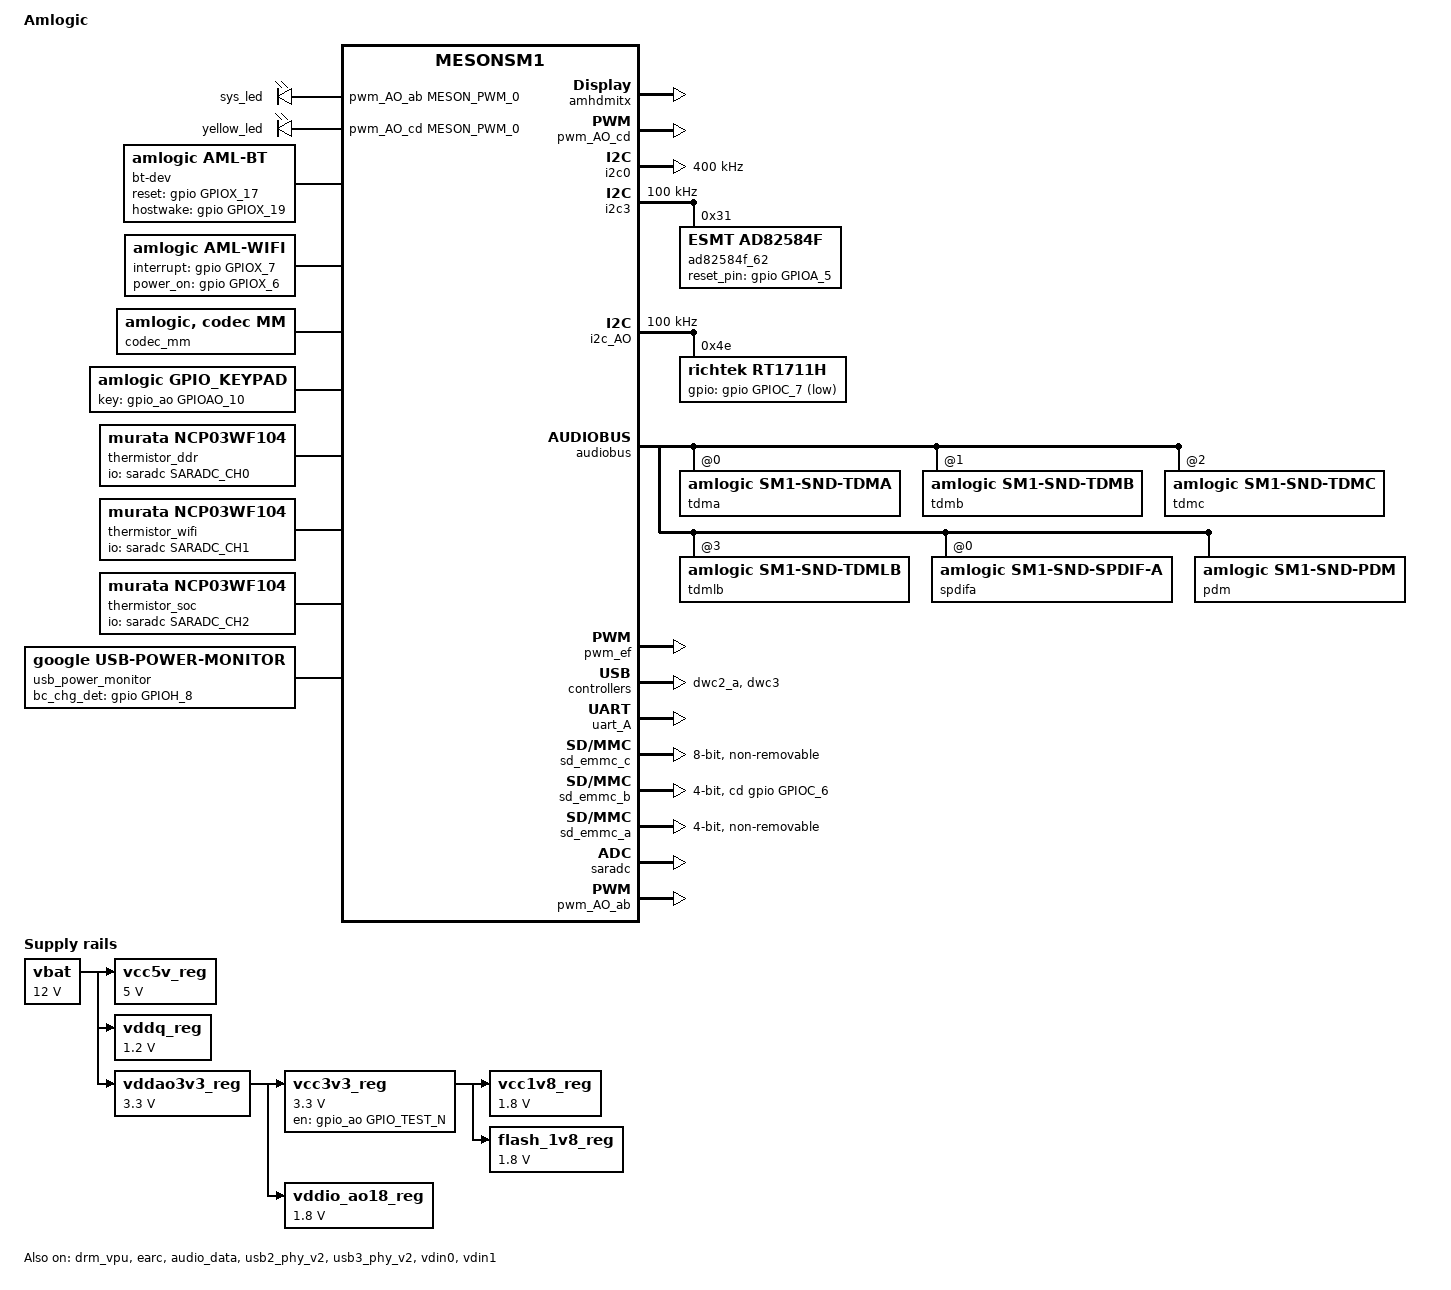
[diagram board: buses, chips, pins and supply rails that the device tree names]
// SPDX-License-Identifier: (GPL-2.0+ OR MIT)
/*
 * Copyright (c) 2019 Amlogic, Inc. All rights reserved.
 */

/dts-v1/;

#include <dt-bindings/usb/pd.h>
#include "mesonsm1_sabrina.dtsi"
#include "mesonsm1_drm.dtsi"
#include "partition_mbox_dynamic_sabrina.dtsi"

/ {
	model = "Amlogic";
	amlogic-dt-id = "sm1_sabrina_2g";
	compatible = "amlogic, g12a";
	interrupt-parent = <&gic>;
	#address-cells = <2>;
	#size-cells = <2>;

	aliases {
		serial0 = &uart_AO;
		serial1 = &uart_A;
		serial2 = &uart_B;
		serial3 = &uart_C;
		serial4 = &uart_AO_B;
		tsensor0 = &p_tsensor;
		tsensor1 = &d_tsensor;
		i2c0 = &i2c0;
		i2c1 = &i2c1;
		i2c2 = &i2c2;
		i2c3 = &i2c3;
		i2c4 = &i2c_AO;
		spi1 = &spicc0;
		spi2 = &spicc1;
	};

	memory@00000000 {
		device_type = "memory";
		linux,usable-memory = <0x0 0x000000 0x0 0x80000000>;
	};

	reserved-memory {
		#address-cells = <2>;
		#size-cells = <2>;
		ranges;
		/* global autoconfigured region for contiguous allocations */
		ramoops@0x07400000 {
			compatible = "ramoops";
			reg = <0x0 0x07400000 0x0 0x00100000>;
			record-size = <0x20000>;
			console-size = <0x40000>;
			ftrace-size = <0x80000>;
			pmsg-size = <0x20000>;
		};

		dmc_reserved:linux,dmc_monitor {
			compatible = "amlogic,dmc_monitor-reserved";
			reg = <0x0 0x0 0x0 0x80000>;
		};

		debug_reserved:linux,iotrace {
			compatible = "amlogic, iotrace";
			reg = <0x0 0x04f00000 0x0 0x00100000>;
			io-size = <0x1b000>;
			sched-size = <0x2000>;
			irq-size = <0x1000>;
			smc-size = <0x1000>;
			misc-size = <0x1000>;
		};

		defendkey_reserved:linux,defendkey {
			compatible = "amlogic, defendkey";
			reg = <0x0 0x04e00000 0x0 0x100000>;
		};
		secmon_reserved:linux,secmon {
			compatible = "shared-dma-pool";
			no-map;
			size = <0x0 0x400000>;
			alignment = <0x0 0x400000>;
			alloc-ranges = <0x0 0x05000000 0x0 0x400000>;
		};
		logo_reserved:linux,meson-fb {
			compatible = "shared-dma-pool";
			reusable;
			size = <0x0 0x800000>;
			alignment = <0x0 0x400000>;
			alloc-ranges = <0x0 0x7f800000 0x0 0x800000>;
		};
		ion_cma_reserved:linux,ion-dev {
			compatible = "shared-dma-pool";
			reusable;
			size = <0x0 0x3400000>;
			alignment = <0x0 0x400000>;
			no-kernel-map;
		};
		ion_fb_reserved:linux,ion-fb {
			compatible = "shared-dma-pool";
			reusable;
			size = <0x0 0x0>;
			alignment = <0x0 0x400000>;
		};
		bl40_fw_reserved:linux,bl40 {
			compatible = "amlogic, mfh";
			size = <0x0 0x0080000>;
			reg = <0x0 0x41000000  0x0 0x0080000>;
		};
		dmaheap_cma_reserved:heap-gfx {
			compatible = "shared-dma-pool";
			reusable;
			size = <0x0 0x3400000>;
			alignment = <0x0 0x400000>;
		};
		dmaheap_fb_reserved:heap-fb {
			compatible = "shared-dma-pool";
			reusable;
			size = <0x0 0x0>;
			alignment = <0x0 0x400000>;
		};
		//di_reserved:linux,di {
			//compatible = "amlogic, di-mem";
			/* buffer_size = 3621952(yuv422 8bit) */
			/* 4179008(yuv422 10bit full pack mode) */
			/** 10x3621952=34.6M(0x23) support 8bit **/
			/** 10x4736064=45.2M(0x2e) support 12bit **/
			/** 10x4179008=40M(0x28) support 10bit **/
			//size = <0x0 0x2800000>;
			//no-map;
		//};
		/*di CMA pool */
		di_cma_reserved:linux,di_cma {
			compatible = "shared-dma-pool";
			reusable;
			/* buffer_size = 3621952(yuv422 8bit)
			 *  | 4736064(yuv422 10bit)
			 *  | 4074560(yuv422 10bit full pack mode)
			 * 10x3621952=34.6M(0x23) support 8bit
			 * 10x4736064=45.2M(0x2e) support 12bit
			 * 10x4074560=40M(0x28) support 10bit
			 */
			size = <0x0 0x05800000>;
			alignment = <0x0 0x400000>;
		};
		/*  POST PROCESS MANAGER */
		ppmgr_reserved:linux,ppmgr {
			compatible = "shared-dma-pool";
			size = <0x0 0x0>;
		};

		codec_mm_cma:linux,codec_mm_cma {
			compatible = "shared-dma-pool";
			reusable;
			/* ion_codec_mm max can alloc size 80M*/
			size = <0x0 0x16400000>;
			alignment = <0x0 0x400000>;
			linux,contiguous-region;
		};
		/* codec shared reserved */
		codec_mm_reserved:linux,codec_mm_reserved {
			compatible = "amlogic, codec-mm-reserved";
			size = <0x0 0x0>;
			alignment = <0x0 0x100000>;
			//no-map;
		};
		/*  vdin0 CMA pool */
		vdin0_cma_reserved:linux,vdin0_cma {
			compatible = "shared-dma-pool";
			reusable;
		/* 1920x1080x2x4  =16+4 M */
		/* for hdmi-in, no need for sabrina */
			size = <0x0 0x00000000>;
			alignment = <0x0 0x400000>;
		};
		/*  vdin1 CMA pool */
		vdin1_cma_reserved:linux,vdin1_cma {
			compatible = "shared-dma-pool";
			reusable;
			/* 1920x1080x2x4  =16 M */
			/* max 1920x1080x3x6*/
			/* for screen record */
			size = <0x0 0x02000000>;
			alignment = <0x0 0x400000>;
		};
		vm0_cma_reserved:linux,vm0_cma {
			compatible = "shared-dma-pool";
			reusable;
			/* sabrina not used */
			size = <0x0 0x0000000>;
			alignment = <0x0 0x400000>;
		};
	};

	galcore {
		status = "disabled";
	};
	pwmleds {
		compatible = "pwm-leds";
		status = "okay";
		pinctrl-names="default";
		pinctrl-0=<&pwm_ao_a_pins>;
		SYS_LED {
			label ="sys_led";
			pwms = <&pwm_AO_ab MESON_PWM_0 12500 0>;
			max-brightness=<255>;
			/* Synchronize brightness with uboot */
			default-brightness=<85>;
		};
		YELLOW_LED {
			label ="yellow_led";
			pwms = <&pwm_AO_cd MESON_PWM_0 12500 0>;
			max-brightness=<255>;
			/* Synchronize brightness with uboot */
			default-brightness=<0>;
		};
	};

	bt-dev{
		compatible = "amlogic, aml-bt";
		dev_name = "bt-dev";
		status = "okay";
		reset-gpios = <&gpio GPIOX_17 GPIO_ACTIVE_HIGH>;
		hostwake-gpios = <&gpio GPIOX_19 GPIO_ACTIVE_HIGH>;
	};

	wifi{
		compatible = "amlogic, aml-wifi";
		dev_name = "aml_wifi";
		status = "okay";
		interrupt-gpios = <&gpio GPIOX_7 GPIO_ACTIVE_HIGH>;
		irq_trigger_type = "IRQF_TRIGGER_LOW";
		power_on-gpios = <&gpio GPIOX_6 GPIO_ACTIVE_HIGH>;
		wifi_static_buf = <1>;
		pinctrl-names = "default";
		pinctrl-0 = <&pwm_e_pins>;
		pwm_config = <&wifi_pwm_conf>;
	};

	wifi_pwm_conf:wifi_pwm_conf{
		pwm_channel1_conf {
			pwms = <&pwm_ef MESON_PWM_0 30541 0>;
			duty-cycle = <15270>;
			times = <10>;
		};
		pwm_channel2_conf {
			pwms = <&pwm_ef MESON_PWM_2 30500 0>;
			duty-cycle = <15250>;
			times = <12>;
		};
	};

	codec_mm {
		compatible = "amlogic, codec, mm";
		memory-region = <&codec_mm_cma &codec_mm_reserved>;
		dev_name = "codec_mm";
		status = "okay";
	};

	picdec_cma_reserved:linux,picdec {
		compatible = "shared-dma-pool";
		reusable;
		size = <0x0>;
		alignment = <0x0>;
		linux,contiguous-region;
	};

	picdec {
		compatible = "amlogic, picdec";
		memory-region = <&picdec_cma_reserved>;
		dev_name = "picdec";
		status = "disabled";
	};

	ppmgr {
		compatible = "amlogic, ppmgr";
		memory-region = <&ppmgr_reserved>;
		dev_name = "ppmgr";
		status = "okay";
	};

	deinterlace {
		compatible = "amlogic, deinterlace";
		status = "disable";
		/* 0:use reserved; 1:use cma; 2:use cma as reserved */
		flag_cma = <4>; //<1>;
		//memory-region = <&di_reserved>;
		memory-region = <&di_cma_reserved>;
		interrupts = <0 46 1
				0 40 1>;
		interrupt-names = "pre_irq", "post_irq";
		//clocks = <&clkc CLKID_VPU_CLKB_TMP>,
		//	<&clkc CLKID_VPU_CLKB>;
		//clock-names = "vpu_clkb",
		//	"vpu_mux";
		clock-range = <334 667>;
		/* buffer-size = <3621952>;(yuv422 8bit) */
		buffer-size = <4074560>;/*yuv422 fullpack*/
		/* reserve-iomap = "true"; */
		/* if enable nr10bit, set nr10bit-support to 1 */
		post-wr-support = <1>;
		nr10bit-support = <1>;
		nrds-enable = <1>;
		pps-enable = <1>;
	};
	multi-di {
		compatible = "amlogic, dim-sm1";
		status = "okay";
		/* 0:use reserved; 1:use cma; 2:use cma as reserved */
		flag_cma = <1>;
		//memory-region = <&di_reserved>;
		memory-region = <&di_cma_reserved>;
		interrupts = <0 46 1
				0 40 1>;
		interrupt-names = "pre_irq", "aisr_irq";
		clocks = <&clkc CLKID_VPU_CLKB_TMP>,
			<&clkc CLKID_VPU_CLKB>;
		clock-names = "vpu_clkb",
			"vpu_mux";
		clock-range = <334 667>;
		/* buffer-size = <3621952>;(yuv422 8bit) */
		buffer-size = <4074560>;/*yuv422 fullpack*/
		/* reserve-iomap = "true"; */
		/* if enable nr10bit, set nr10bit-support to 1 */
		post-wr-support = <1>;
		nr10bit-support = <1>;
		nrds-enable = <1>;
		pps-enable = <1>;
	};

	ionvideo {
		compatible = "amlogic, ionvideo";
		dev_name = "ionvideo";
		status = "okay";
	};
	amlvideo2_0 {
		compatible = "amlogic, amlvideo2";
		dev_name = "amlvideo2";
		status = "okay";
		amlvideo2_id = <0>;
		cma_mode = <1>;
	};
	amlvideo2_1 {
		compatible = "amlogic, amlvideo2";
		dev_name = "amlvideo2";
		status = "okay";
		amlvideo2_id = <1>;
		cma_mode = <1>;
	};

	vm0 {
		compatible = "amlogic, vm";
		memory-region = <&vm0_cma_reserved>;
		dev_name = "vm0";
		status = "disabled";
		vm_id = <0>;
	};

	amvdec_656in {
		/*bt656 gpio conflict with i2c0*/
		compatible = "amlogic, amvdec_656in";
		dev_name = "amvdec_656in";
		status = "disabled";
		reg = <0x0 0xffe02000 0x0 0x7c>;
		//clocks = <&clkc CLKID_BT656_COMP>,
		//      <&clkc CLKID_BT656>;
		//clock-names = "cts_bt656_clk1",
		//      "clk_gate_bt656";
		/* bt656in1, bt656in2 */
		bt656in1 {
		bt656_id = <1>;
		status = "disabled";
		};
	};

	aml_cams {
		compatible = "amlogic, cams_prober";
		status = "disabled";
		pinctrl-names="default";
		pinctrl-0=<&clk12_24_z_pins>;
		clocks = <&clkc CLKID_24M_CLK_GATE>;
		clock-names = "g12a_24m";
		cam_0{
			cam_name = "ov5640";
			front_back = <0>;
			camera-i2c-bus = <&i2c2>;
			camvdd-gpios = <&gpio GPIOZ_5 GPIO_ACTIVE_HIGH>;
			gpio_pwdn-gpios = <&gpio GPIOZ_6 GPIO_ACTIVE_HIGH>;
			gpio_rst-gpios = <&gpio GPIOZ_12 GPIO_ACTIVE_HIGH>;
			mirror_flip = <1>;
			vertical_flip = <1>;
			spread_spectrum = <0>;
			bt_path = "csi";
			interface = "mipi";
			clk_channel = "a";
			bt_path_count = <1>;
			status = "okay";
		};
	};

	amvdec_csi {
		compatible = "amlogic, amvdec_csi";
		status = "disabled";
		csi_id = <0>;
		reg = <0x0 0xff650000 0x0 0x00000100>,
		      <0x0 0xffe0c000 0x0 0x00000100>,
		      <0x0 0xffe0d000 0x0 0x00000100>;
		reg-names = "csi_phy", "csi_host", "csi_adapt";
		clocks = <&clkc CLKID_CSI_ADAPT_CLK>,
		      <&clkc CLKID_MIPI_CSI_PHY_CLK0>;
		clock-names = "cts_csi_adapt_clk_composite",
		      "cts_csi_phy_clk_composite";
		power-domains = <&pwrdm PWRC_SM1_CSI_ID>;
		/* interrupts = <0 1 0>; */
		/* interrupt-names = "csi_phy"; */
	};

	gpio_keypad{
		compatible = "amlogic, gpio_keypad";
		status = "okay";
		scan_period = <20>;
		key_num = <1>;
		key_name = "power";
		key_code = <218>;
		key-gpios = <&gpio_ao  GPIOAO_10  GPIO_ACTIVE_HIGH>;
		detect_mode = <0>;/*0:polling mode, 1:irq mode*/
	};

	adc_keypad {
		compatible = "amlogic, adc_keypad";
		status = "disabled";
		key_name = "vol-", "vol+", "enter";
		key_num = <3>;
		io-channels = <&saradc SARADC_CH2>;
		io-channel-names = "key-chan-2";
		key_chan = <SARADC_CH2 SARADC_CH2 SARADC_CH2>;
		key_code = <114 115 28>;
		key_val = <143 266 389>; //val=voltage/1800mV*1023
		key_tolerance = <40 40 40>;
	};

	unifykey{
		compatible = "amlogic,unifykey";
		status = "ok";
		unifykey-num = <24>;
		unifykey-index-0 = <&keysn_0>;
		unifykey-index-1 = <&keysn_1>;
		unifykey-index-2 = <&keysn_2>;
		unifykey-index-3 = <&keysn_3>;
		unifykey-index-4 = <&keysn_4>;
		unifykey-index-5 = <&keysn_5>;
		unifykey-index-6 = <&keysn_6>;
		unifykey-index-7 = <&keysn_7>;
		unifykey-index-8 = <&keysn_8>;
		unifykey-index-9 = <&keysn_9>;
		unifykey-index-10= <&keysn_10>;
		unifykey-index-11= <&keysn_11>;
		unifykey-index-12= <&keysn_12>;
		unifykey-index-13= <&keysn_13>;
		unifykey-index-14= <&keysn_14>;
		unifykey-index-15= <&keysn_15>;
		unifykey-index-16= <&keysn_16>;
		unifykey-index-17= <&keysn_17>;
		unifykey-index-18= <&keysn_18>;
		unifykey-index-19= <&keysn_19>;
		unifykey-index-20= <&keysn_20>;
		unifykey-index-21= <&keysn_21>;
		unifykey-index-22= <&keysn_22>;
		unifykey-index-23= <&keysn_23>;

		keysn_0: key_0{
			key-name = "usid";
			key-device = "normal";
			key-permit = "read","write","del";
		};
		keysn_1:key_1{
			key-name = "mac";
			key-device = "normal";
			key-permit = "read","write","del";
		};
		keysn_2:key_2{
			key-name = "hdcp";
			key-device = "secure";
			key-type = "sha1";
			key-permit = "read","write","del";
		};
		keysn_3:key_3{
			key-name = "secure_boot_set";
			key-device = "efuse";
			key-permit = "write";
		};
		keysn_4:key_4{
			key-name = "mac_bt";
			key-device = "normal";
			key-permit = "read","write","del";
			key-type  = "mac";
		};
		keysn_5:key_5{
			key-name = "mac_wifi";
			key-device = "normal";
			key-permit = "read","write","del";
			key-type = "mac";
		};
		keysn_6:key_6{
			key-name = "hdcp2_tx";
			key-device = "normal";
			key-permit = "read","write","del";
		};
		keysn_7:key_7{
			key-name = "hdcp2_rx";
			key-device = "normal";
			key-permit = "read","write","del";
		};
		keysn_8:key_8{
			key-name = "widevinekeybox";
			key-device = "secure";
			key-permit = "read","write","del";
		};
		keysn_9:key_9{
			key-name = "deviceid";
			key-device = "normal";
			key-permit = "read","write","del";
		};
		keysn_10:key_10{
			key-name = "hdcp22_fw_private";
			key-device = "secure";
			key-permit = "read","write","del";
		};
		keysn_11:key_11{
			key-name = "PlayReadykeybox25";
			key-device = "secure";
			key-permit = "read","write","del";
		};
		keysn_12:key_12{
			key-name = "prpubkeybox";// PlayReady
			key-device = "secure";
			key-permit = "read","write","del";
		};
		keysn_13:key_13{
			key-name = "prprivkeybox";// PlayReady
			key-device = "secure";
			key-permit = "read","write","del";
		};
		keysn_14:key_14{
			key-name = "attestationkeybox";// attestation key
			key-device = "secure";
			key-permit = "read","write","del";
		};
		keysn_15:key_15{
			key-name = "region_code";
			key-device = "normal";
			key-permit = "read","write","del";
		};
		keysn_16:key_16{
			key-name = "netflix_mgkid";
			key-device = "secure";
			key-permit = "read","write","del";
		};
		keysn_17:key_17{
			key-name = "cast_key";
			key-device = "secure";
			key-permit = "read","write","del";
		};
		keysn_18:key_18{
			key-name = "weave_key";
			key-device = "secure";
			key-permit = "read","write","del";
		};
		keysn_19:key_19{
			key-name = "attestationdevidbox";// attest dev id box
			key-device = "secure";
			key-permit = "read","write","del";
		};
		keysn_20:key_20{
			key-name = "oemkey";
			key-device = "normal";
			key-permit = "read","write","del";
		};
		// Reserved key entries for Google Nest
		keysn_21:key_21{
			key-name = "nest_key0";
			key-device = "normal";
			key-permit = "read","write","del";
		};
		keysn_22:key_22{
			key-name = "nest_key1";
			key-device = "normal";
			key-permit = "read","write","del";
		};
		keysn_23:key_23{
			key-name = "nest_key2";
			key-device = "normal";
			key-permit = "read","write","del";
		};
	};//End unifykey

	efusekey:efusekey{
		keynum = <4>;
		key0 = <&key_0>;
		key1 = <&key_1>;
		key2 = <&key_2>;
		key3 = <&key_3>;
		key_0:key_0{
			keyname = "mac";
			offset = <0>;
			size = <6>;
		};
		key_1:key_1{
			keyname = "mac_bt";
			offset = <6>;
			size = <6>;
		};
		key_2:key_2{
			keyname = "mac_wifi";
			offset = <12>;
			size = <6>;
		};
		key_3:key_3{
			keyname = "usid";
			offset = <18>;
			size = <16>;
		};
	};//End efusekey

	amlvecm {
		compatible = "amlogic, vecm-sm1";
		dev_name = "aml_vecm";
		status = "okay";
		gamma_en = <0>;/*1:enable ;0:disable*/
		wb_en = <0>;/*1:enable ;0:disable*/
		cm_en = <0>;/*1:enable ;0:disable*/
		/*0: 709/601  1: bt2020*/
		tx_op_color_primary = <0>;
	};

	amdolby_vision {
		compatible = "amlogic, dolby_vision_sm1";
		dev_name = "aml_amdolby_vision_driver";
		status = "okay";
		tv_mode = <0>;/*1:enable ;0:disable*/
	};

	/* Audio Related start */
	pdm_codec:dummy{
		#sound-dai-cells = <0>;
		compatible = "amlogic, pdm_dummy_codec";
		status = "okay";
	};
	dummy_codec:dummy{
		#sound-dai-cells = <0>;
		compatible = "amlogic, aml_dummy_codec";
		status = "okay";
	};
	amlogic_codec:t9015{
		#sound-dai-cells = <0>;
		compatible = "amlogic, aml_codec_T9015";
		reg = <0x0 0xFF632000 0x0 0x2000>;
		is_auge_used = <1>; /* meson or auge chipset used */
		tocodec_inout = <1>;
		tdmout_index = <1>;
		ch0_sel = <0>;
		ch1_sel = <1>;

		status = "disabled";
	};

	auge_sound {
		compatible = "amlogic, auge-sound-card";
		aml-audio-card,name = "AML-AUGESOUND";

		/*avout mute gpio*/
		/*avout_mute-gpios = <&gpio_ao GPIOAO_2 GPIO_ACTIVE_HIGH>;*/

		aml-audio-card,dai-link@0 {
			format = "dsp_a";
			mclk-fs = <512>;
			//continuous-clock;
			//bitclock-inversion;
			//frame-inversion;
			/* master mode */
			bitclock-master = <&tdma>;
			frame-master = <&tdma>;
			/* slave mode */
			/*
			 * bitclock-master = <&tdmacodec>;
			 * frame-master = <&tdmacodec>;
			 */
			suffix-name = "alsaPORT-pcm";
			tdmacpu: cpu {
				sound-dai = <&tdma>;
				dai-tdm-slot-tx-mask =
							<1 1 1 1 1 1 1 1>;
				dai-tdm-slot-rx-mask =
							<1 1 1 1 1 1 1 1>;
				dai-tdm-slot-num = <8>;
				dai-tdm-slot-width = <32>;
				system-clock-frequency = <24576000>;
			};
			tdmacodec: codec {
				sound-dai = <&dummy_codec &dummy_codec>;
			};
		};

		aml-audio-card,dai-link@1 {
			format = "i2s";// "dsp_a";
			mclk-fs = <256>;
			//continuous-clock;
			//bitclock-inversion;
			//frame-inversion;
			/* master mode */
			bitclock-master = <&tdmb>;
			frame-master = <&tdmb>;
			/* slave mode */
			//bitclock-master = <&tdmbcodec>;
			//frame-master = <&tdmbcodec>;
			/* suffix-name, sync with android audio hal
			 * what's the dai link used for
			 */
			suffix-name = "alsaPORT-i2s";
			cpu {
				sound-dai = <&tdmb>;
				dai-tdm-slot-tx-mask = <1 1>;
				dai-tdm-slot-rx-mask = <1 1>;
				dai-tdm-slot-num = <2>;
				/*
				 * dai-tdm-slot-tx-mask =
				 *	<1 1 1 1 1 1 1 1>;
				 * dai-tdm-slot-rx-mask =
				 *	<1 1 1 1 1 1 1 1>;
				 * dai-tdm-slot-num = <8>;
				 */
				dai-tdm-slot-width = <32>;
				system-clock-frequency = <12288000>;
			};
			tdmbcodec: codec {
				sound-dai = <&dummy_codec &dummy_codec
				&ad82584f_62>;
			};
		};

		aml-audio-card,dai-link@2 {
			format = "i2s";
			mclk-fs = <256>;
			//continuous-clock;
			//bitclock-inversion;
			//frame-inversion;
			/* master mode */
			bitclock-master = <&tdmc>;
			frame-master = <&tdmc>;
			/* slave mode */
			//bitclock-master = <&tdmccodec>;
			//frame-master = <&tdmccodec>;
			/* suffix-name, sync with android audio hal used for */
			suffix-name = "alsaPORT-i2s2hdmi";
			cpu {
				sound-dai = <&tdmc>;
				dai-tdm-slot-tx-mask = <1 1>;
				dai-tdm-slot-rx-mask = <1 1>;
				dai-tdm-slot-num = <2>;
				dai-tdm-slot-width = <32>;
				system-clock-frequency = <12288000>;
			};
			tdmccodec: codec {
				sound-dai = <&dummy_codec>;
			};
		};

		aml-audio-card,dai-link@3 {
			mclk-fs = <64>;
			/* suffix-name, sync with android audio hal
			 * what's the dai link used for
			 */
			suffix-name = "alsaPORT-pdm";
			cpu {
				sound-dai = <&pdm>;
			};
			codec {
				sound-dai = <&pdm_codec>;
			};
		};

		aml-audio-card,dai-link@4 {
			mclk-fs = <128>;
			/* suffix-name, sync with android audio hal used for */
			suffix-name = "alsaPORT-spdif";
			cpu {
				sound-dai = <&spdifa>;
				system-clock-frequency = <6144000>;
			};
			codec {
				sound-dai = <&dummy_codec>;
			};
		};

		aml-audio-card,dai-link@6 {
			mclk-fs = <256>;
			suffix-name = "alsaPORT-earc";
			cpu {
				sound-dai = <&earc>;
				system-clock-frequency = <12288000>;
			};
			codec {
				sound-dai = <&dummy_codec>;
			};
		};
	};
	audiolocker: locker {
		compatible = "amlogic, audiolocker";
		clocks = <&clkaudio CLKID_AUDIO_LOCKER_OUT
				&clkaudio CLKID_AUDIO_LOCKER_IN
				&clkaudio CLKID_AUDIO_MCLK_D
				&clkaudio CLKID_AUDIO_MCLK_E
				&clkc CLKID_MPLL1
				&clkc CLKID_MPLL2>;
		clock-names = "lock_out", "lock_in", "out_src",
					"in_src", "out_calc", "in_ref";
		interrupts = <GIC_SPI 1 IRQ_TYPE_EDGE_RISING>;
		interrupt-names = "irq";
		frequency = <49000000>; /* pll */
		dividor = <49>; /* locker's parent */
		status = "disabled";
	};
	/* Audio Related end */

	demux {
		compatible = "amlogic, dvb-demux";
		dev_name = "dvb-demux";
		status = "disabled";

		/*"parallel","serial","disable"*/
//		ts2 = "parallel";
//		ts2_control = <0>;
//		ts2_invert = <0>;
		interrupts = <0 23 1
					0 5 1
					0 53 1
					0 19 1
					0 25 1
					0 18 1
					0 24 1>;
		interrupt-names = "demux0_irq",
						"demux1_irq",
						"demux2_irq",
						"dvr0_irq",
						"dvr1_irq",
						"dvrfill0_fill",
						"dvrfill1_flush";
		//clocks = <&clkc CLKID_DEMUX
		//	&clkc CLKID_AHB_ARB0
		//	&clkc CLKID_DOS_PARSER>;
		//clock-names = "demux", "ahbarb0", "uparsertop";
	};

	vbat: fixedregulator@vbat {
		compatible = "regulator-fixed";
		regulator-name = "12V";
		regulator-min-microvolt = <12000000>;
		regulator-max-microvolt = <12000000>;
		regulator-boot-on;
		regulator-always-on;
	};

	vcc5v_reg: fixedregulator@vcc5v {
		vin-supply = <&vbat>;
		compatible = "regulator-fixed";
		regulator-name = "VCC_5V";
		regulator-min-microvolt = <5000000>;
		regulator-max-microvolt = <5000000>;
		pinctrl-names = "default";
		//GPIOH_8(OD) Set:
		// Output disable= Enable VCC5V
		//gpio = <&gpio GPIOH_8 GPIO_ACTIVE_HIGH>;
		startup-delay-us = <70000>;
		enable-active-high;
		regulator-boot-on;
		regulator-always-on;
	};

	vddq_reg: fixedregulator@vddq {
		compatible = "regulator-fixed";
		vin-supply = <&vbat>;
		regulator-name = "VDDQ";
		regulator-min-microvolt = <1200000>;
		regulator-max-microvolt = <1200000>;
		regulator-boot-on;
		regulator-always-on;
	};

	vddao3v3_reg: fixedregulator@vddao3v3 {
		vin-supply = <&vbat>;
		compatible = "regulator-fixed";
		regulator-name = "VDDAO_3.3V";
		regulator-min-microvolt = <3300000>;
		regulator-max-microvolt = <3300000>;
		regulator-boot-on;
		regulator-always-on;
	};

	vcc3v3_reg: fixedregulator@vcc3v3 {
		compatible = "regulator-fixed";
		vin-supply = <&vddao3v3_reg>;
		regulator-name = "VCC3.3V";
		regulator-min-microvolt = <3300000>;
		regulator-max-microvolt = <3300000>;
		pinctrl-names = "default";
		//TEST_N(High) Set:
		//Output L= Disable VCC3.3V
		//Output H= Enable VCC3.3V
		gpio = <&gpio_ao GPIO_TEST_N GPIO_ACTIVE_HIGH>;
		startup-delay-us = <70000>;
		enable-active-high;
		regulator-boot-on;
		regulator-always-on;
	};

	vcc1v8_reg: fixedregulator@vcc1v8 {
		vin-supply = <&vcc3v3_reg>;
		compatible = "regulator-fixed";
		regulator-name = "VCC1.8V";
		regulator-min-microvolt = <1800000>;
		regulator-max-microvolt = <1800000>;
		regulator-boot-on;
		regulator-always-on;
	};

	flash_1v8_reg: fixedregulator@flash_1v8 {
		vin-supply = <&vcc3v3_reg>;
		compatible = "regulator-fixed";
		regulator-name = "FLASH_1.8V";
		regulator-min-microvolt = <1800000>;
		regulator-max-microvolt = <1800000>;
		regulator-boot-on;
		regulator-always-on;
	};

	vddio_ao18_reg: fixedregulator@vddio_ao18 {
		vin-supply = <&vddao3v3_reg>;
		compatible = "regulator-fixed";
		regulator-name = "VDDIO_AO18";
		regulator-min-microvolt = <1800000>;
		regulator-max-microvolt = <1800000>;
		regulator-boot-on;
		regulator-always-on;
	};

	vddio_c: sdcard-1v8_3v3 {
		compatible = "regulator-gpio";
		status = "disabled";
		regulator-name = "VDDIO_C";
		vin-supply = <&vddao3v3_reg>;
		regulator-min-microvolt = <1800000>;
		regulator-max-microvolt = <3300000>;
		// L/HiZ: 3.3V, H: 1.8V
		gpio = <&gpio_ao GPIOAO_2 GPIO_ACTIVE_HIGH>;
		gpios-states = <0>;
		regulator-boot-on;
		//regulator-always-on;

		/* Based on P200 schematics, signal CARD_1.8V/3.3V_CTR */
		states = <1800000 1
			  3300000 0>;
	};

	thermistor_ddr: thermistor@0 {
		compatible = "murata,ncp03wf104";
		pullup-uv = <1800000>;
		pullup-ohm = <47000>;
		pulldown-ohm = <0>;
		io-channels = <&saradc SARADC_CH0>;
		#thermal-sensor-cells = <0>;
	};
	thermistor_wifi: thermistor@1 {
		compatible = "murata,ncp03wf104";
		pullup-uv = <1800000>;
		pullup-ohm = <47000>;
		pulldown-ohm = <0>;
		io-channels = <&saradc SARADC_CH1>;
		#thermal-sensor-cells = <0>;
	};
	thermistor_soc: thermistor@2 {
		compatible = "murata,ncp03wf104";
		pullup-uv = <1800000>;
		pullup-ohm = <47000>;
		pulldown-ohm = <0>;
		io-channels = <&saradc SARADC_CH2>;
		#thermal-sensor-cells = <0>;
	};
	usb_power_monitor: usb-power-monitor {
		compatible = "google,usb-power-monitor";
		bc_chg_det-gpio = <&gpio GPIOH_8 GPIO_ACTIVE_HIGH>;
		typec_power_supply = <&rt1711h>;
		#thermal-sensor-cells = <0>;
	};
	thermal-zones {
		soc_pll_thermal: soc_pll_thermal {
			polling-delay = <1000>;
			polling-delay-passive = <100>;
			sustainable-power = <1410>;
			policy = "step_wise";
			thermal-sensors = <&p_tsensor 0>;
			trips {
				soc_pll_trip0: trip-point@0 {
					temperature = <88000>;
					hysteresis = <1000>;
					type = "passive";
				};
				soc_pll_trip1: trip-point@1 {
					temperature = <91000>;
					hysteresis = <1000>;
					type = "passive";
				};
				soc_pll_trip2: trip-point@2 {
					temperature = <94000>;
					hysteresis = <1000>;
					type = "passive";
				};
				soc_pll_trip3: trip-point@3 {
					temperature = <97000>;
					hysteresis = <1000>;
					type = "passive";
				};
				soc_pll_critical: trip-point@4 {
					temperature = <100000>;
					hysteresis = <1000>;
					type = "critical";
				};
			};
			cooling-maps {
				cpufreq_cooling_map0 {
					trip = <&soc_pll_trip0>;
					cooling-device = <&CPU0 0 4>;
				};
				cpufreq_cooling_map1 {
					trip = <&soc_pll_trip1>;
					cooling-device = <&CPU0 5 6>;
				};
				cpufreq_cooling_map2 {
					trip = <&soc_pll_trip2>;
					cooling-device = <&CPU0 7 7>;
				};
				cpufreq_cooling_map3 {
					trip = <&soc_pll_trip3>;
					cooling-device = <&CPU0 8 8>;
				};
				gpufreq_cooling_map1 {
					trip = <&soc_pll_trip0>;
					cooling-device = <&gpufreq_cool0 1 1>;
				};
				gpufreq_cooling_map2 {
					trip = <&soc_pll_trip1>;
					cooling-device = <&gpufreq_cool0 2 2>;
				};
			};
		};

		soc_ddr_thermal: soc_ddr_thermal {
			polling-delay = <1000>;
			polling-delay-passive = <100>;
			sustainable-power = <1410>;
			policy = "step_wise";
			thermal-sensors = <&d_tsensor 1>;
			trips {
				soc_ddr_trip0: trip-point@0 {
					temperature = <88000>;
					hysteresis = <1000>;
					type = "passive";
				};
				soc_ddr_trip1: trip-point@1 {
					temperature = <91000>;
					hysteresis = <1000>;
					type = "passive";
				};
				soc_ddr_trip2: trip-point@2 {
					temperature = <94000>;
					hysteresis = <1000>;
					type = "passive";
				};
				soc_ddr_trip3: trip-point@3 {
					temperature = <97000>;
					hysteresis = <1000>;
					type = "passive";
				};
				soc_ddr_critical: trip-point@4 {
					temperature = <100000>;
					hysteresis = <1000>;
					type = "critical";
				};
			};
			cooling-maps {
				cpufreq_cooling_map0 {
					trip = <&soc_ddr_trip0>;
					cooling-device = <&CPU0 0 4>;
				};
				cpufreq_cooling_map1 {
					trip = <&soc_ddr_trip1>;
					cooling-device = <&CPU0 5 6>;
				};
				cpufreq_cooling_map2 {
					trip = <&soc_ddr_trip2>;
					cooling-device = <&CPU0 7 7>;
				};
				cpufreq_cooling_map3 {
					trip = <&soc_ddr_trip3>;
					cooling-device = <&CPU0 8 8>;
				};
				gpufreq_cooling_map1 {
					trip = <&soc_ddr_trip0>;
					cooling-device = <&gpufreq_cool0 1 1>;
				};
				gpufreq_cooling_map2 {
					trip = <&soc_ddr_trip1>;
					cooling-device = <&gpufreq_cool0 2 2>;
				};
			};
		};

		board_ddr_thermal: board_ddr_thermal {
			polling-delay = <1000>;
			polling-delay-passive = <100>;
			thermal-sensors = <&thermistor_ddr>;
			trips {
				board_ddr_trip0: trip-point@0 {
					temperature = <78000>;
					hysteresis = <1000>;
					type = "passive";
				};
				board_ddr_trip1: trip-point@1 {
					temperature = <80000>;
					hysteresis = <1000>;
					type = "passive";
				};
				board_ddr_trip2: trip-point@2 {
					temperature = <83000>;
					hysteresis = <1000>;
					type = "passive";
				};
				board_ddr_trip3: trip-point@3 {
					temperature = <84000>;
					hysteresis = <1000>;
					type = "passive";
				};
				board_ddr_critical: trip-point@4 {
					temperature = <86000>;
					hysteresis = <1000>;
					type = "critical";
				};
			};
			cooling-maps {
				cpufreq_cooling_map0 {
					trip = <&board_ddr_trip0>;
					cooling-device = <&CPU0 0 4>;
				};
				cpufreq_cooling_map1 {
					trip = <&board_ddr_trip1>;
					cooling-device = <&CPU0 5 6>;
				};
				cpufreq_cooling_map2 {
					trip = <&board_ddr_trip2>;
					cooling-device = <&CPU0 7 7>;
				};
				cpufreq_cooling_map3 {
					trip = <&board_ddr_trip3>;
					cooling-device = <&CPU0 8 8>;
				};
				gpufreq_cooling_map0 {
					trip = <&board_ddr_trip0>;
					cooling-device = <&gpufreq_cool0 1 1>;
				};
				gpufreq_cooling_map1 {
					trip = <&board_ddr_trip1>;
					cooling-device = <&gpufreq_cool0 2 2>;
				};
			};
		};

		board_wifi_thermal: board_wifi_thermal {
			polling-delay = <1000>;
			polling-delay-passive = <100>;
			thermal-sensors = <&thermistor_wifi>;
			trips {
				board_wifi_trip0: trip-point@0 {
					temperature = <78000>;
					hysteresis = <1000>;
					type = "passive";
				};
				board_wifi_trip1: trip-point@1 {
					temperature = <80000>;
					hysteresis = <1000>;
					type = "passive";
				};
				board_wifi_trip2: trip-point@2 {
					temperature = <83000>;
					hysteresis = <1000>;
					type = "passive";
				};
				board_wifi_trip3: trip-point@3 {
					temperature = <84000>;
					hysteresis = <1000>;
					type = "passive";
				};
				board_wifi_critical: trip-point@4 {
					temperature = <86000>;
					hysteresis = <1000>;
					type = "critical";
				};
			};
			cooling-maps {
				cpufreq_cooling_map0 {
					trip = <&board_wifi_trip0>;
					cooling-device = <&CPU0 0 4>;
				};
				cpufreq_cooling_map1 {
					trip = <&board_wifi_trip1>;
					cooling-device = <&CPU0 5 6>;
				};
				cpufreq_cooling_map2 {
					trip = <&board_wifi_trip2>;
					cooling-device = <&CPU0 7 7>;
				};
				cpufreq_cooling_map3 {
					trip = <&board_wifi_trip3>;
					cooling-device = <&CPU0 8 8>;
				};
				gpufreq_cooling_map0 {
					trip = <&board_wifi_trip0>;
					cooling-device = <&gpufreq_cool0 1 1>;
				};
				gpufreq_cooling_map1 {
					trip = <&board_wifi_trip1>;
					cooling-device = <&gpufreq_cool0 2 2>;
				};
			};
		};

		board_soc_thermal: board_soc_thermal {
			polling-delay = <1000>;
			polling-delay-passive = <100>;
			thermal-sensors = <&thermistor_soc>;
			trips {
				board_soc_trip0: trip-point@0 {
					temperature = <78000>;
					hysteresis = <1000>;
					type = "passive";
				};
				board_soc_trip1: trip-point@1 {
					temperature = <80000>;
					hysteresis = <1000>;
					type = "passive";
				};
				board_soc_trip2: trip-point@2 {
					temperature = <83000>;
					hysteresis = <1000>;
					type = "passive";
				};
				board_soc_trip3: trip-point@3 {
					temperature = <84000>;
					hysteresis = <1000>;
					type = "passive";
				};
				board_soc_critical: trip-point@4 {
					temperature = <86000>;
					hysteresis = <1000>;
					type = "critical";
				};
			};
			cooling-maps {
				cpufreq_cooling_map0 {
					trip = <&board_soc_trip0>;
					cooling-device = <&CPU0 0 4>;
				};
				cpufreq_cooling_map1 {
					trip = <&board_soc_trip1>;
					cooling-device = <&CPU0 5 6>;
				};
				cpufreq_cooling_map2 {
					trip = <&board_soc_trip2>;
					cooling-device = <&CPU0 7 7>;
				};
				cpufreq_cooling_map3 {
					trip = <&board_soc_trip3>;
					cooling-device = <&CPU0 8 8>;
				};
				gpufreq_cooling_map0 {
					trip = <&board_soc_trip0>;
					cooling-device = <&gpufreq_cool0 1 1>;
				};
				gpufreq_cooling_map1 {
					trip = <&board_soc_trip1>;
					cooling-device = <&gpufreq_cool0 2 2>;
				};
			};
		};

		skin_thermal: skin_thermal {
			polling-delay = <1000>;
			polling-delay-passive = <100>;
			thermal-sensors = <&thermistor_wifi>;
			coefficients = <1 (-3500)>;
			trips {
				skin_trip0: trip-point@0 {
					temperature = <69000>;
					hysteresis = <1000>;
					type = "passive";
				};
				skin_trip1: trip-point@1 {
					temperature = <70000>;
					hysteresis = <1000>;
					type = "passive";
				};
				skin_trip2: trip-point@2 {
					temperature = <71000>;
					hysteresis = <1000>;
					type = "passive";
				};
				skin_trip3: trip-point@3 {
					temperature = <72000>;
					hysteresis = <1000>;
					type = "passive";
				};
				skin_critical: trip-point@4 {
					temperature = <73000>;
					hysteresis = <1000>;
					type = "critical";
				};
			};
			cooling-maps {
				cpufreq_cooling_map0 {
					trip = <&skin_trip0>;
					cooling-device = <&CPU0 0 4>;
				};
				cpufreq_cooling_map1 {
					trip = <&skin_trip1>;
					cooling-device = <&CPU0 5 6>;
				};
				cpufreq_cooling_map2 {
					trip = <&skin_trip2>;
					cooling-device = <&CPU0 7 7>;
				};
				cpufreq_cooling_map3 {
					trip = <&skin_trip3>;
					cooling-device = <&CPU0 8 8>;
				};
				gpufreq_cooling_map0 {
					trip = <&skin_trip0>;
					cooling-device = <&gpufreq_cool0 1 1>;
				};
				gpufreq_cooling_map1 {
					trip = <&skin_trip1>;
					cooling-device = <&gpufreq_cool0 2 2>;
				};
			};
		};

		usb_power_vthermal: usb_power_vthermal {
			polling-delay = <2000>;
			polling-delay-passive = <1000>;
			thermal-sensors = <&usb_power_monitor>;
			trips {
				usb_power_low: trip-point@0 {
					temperature = <(-2500000)>;
					hysteresis = <0>;
					type = "passive";
				};
			};
		};
	};

	cpu_opp_table0: cpu_opp_table0 {
		compatible = "operating-points-v2";
		opp-shared;

		opp00 {
			opp-hz = /bits/ 64 <100000000>;
			opp-microvolt = <760000>;
		};
		opp01 {
			opp-hz = /bits/ 64 <250000000>;
			opp-microvolt = <760000>;
		};
		opp02 {
			opp-hz = /bits/ 64 <500000000>;
			opp-microvolt = <760000>;
		};
		opp03 {
			opp-hz = /bits/ 64 <666666666>;
			opp-microvolt = <780000>;
		};
		opp04 {
			opp-hz = /bits/ 64 <1000000000>;
			opp-microvolt = <800000>;
		};
		opp05 {
			opp-hz = /bits/ 64 <1200000000>;
			opp-microvolt = <810000>;
		};
		opp06 {
			opp-hz = /bits/ 64 <1404000000>;
			opp-microvolt = <820000>;
		};
		opp07 {
			opp-hz = /bits/ 64 <1500000000>;
			opp-microvolt = <830000>;
		};
		opp08 {
			opp-hz = /bits/ 64 <1608000000>;
			opp-microvolt = <860000>;
		};
		opp09 {
			opp-hz = /bits/ 64 <1704000000>;
			opp-microvolt = <900000>;
		};
		opp10 {
			opp-hz = /bits/ 64 <1800000000>;
			opp-microvolt = <940000>;
		};
		opp11 {
			opp-hz = /bits/ 64 <1908000000>;
			opp-microvolt = <1000000>;
		};
	};

	cpu_opp_table1: cpu_opp_table1 {
		compatible = "operating-points-v2";
		opp-shared;

		opp00 {
			opp-hz = /bits/ 64 <100000000>;
			opp-microvolt = <760000>;
		};
		opp01 {
			opp-hz = /bits/ 64 <250000000>;
			opp-microvolt = <760000>;
		};
		opp02 {
			opp-hz = /bits/ 64 <500000000>;
			opp-microvolt = <760000>;
		};
		opp03 {
			opp-hz = /bits/ 64 <666666666>;
			opp-microvolt = <780000>;
		};
		opp04 {
			opp-hz = /bits/ 64 <1000000000>;
			opp-microvolt = <800000>;
		};
		opp05 {
			opp-hz = /bits/ 64 <1200000000>;
			opp-microvolt = <810000>;
		};
		opp06 {
			opp-hz = /bits/ 64 <1404000000>;
			opp-microvolt = <820000>;
		};
		opp07 {
			opp-hz = /bits/ 64 <1500000000>;
			opp-microvolt = <830000>;
		};
		opp08 {
			opp-hz = /bits/ 64 <1608000000>;
			opp-microvolt = <860000>;
		};
		opp09 {
			opp-hz = /bits/ 64 <1704000000>;
			opp-microvolt = <900000>;
		};
		opp10 {
			opp-hz = /bits/ 64 <1800000000>;
			opp-microvolt = <940000>;
		};
		opp11 {
			opp-hz = /bits/ 64 <1908000000>;
			opp-microvolt = <970000>;
		};
	};

	cpu_opp_table2: cpu_opp_table2 {
		compatible = "operating-points-v2";
		opp-shared;

		opp00 {
			opp-hz = /bits/ 64 <100000000>;
			opp-microvolt = <760000>;
		};
		opp01 {
			opp-hz = /bits/ 64 <250000000>;
			opp-microvolt = <760000>;
		};
		opp02 {
			opp-hz = /bits/ 64 <500000000>;
			opp-microvolt = <760000>;
		};
		opp03 {
			opp-hz = /bits/ 64 <666666666>;
			opp-microvolt = <780000>;
		};
		opp04 {
			opp-hz = /bits/ 64 <1000000000>;
			opp-microvolt = <800000>;
		};
		opp05 {
			opp-hz = /bits/ 64 <1200000000>;
			opp-microvolt = <810000>;
		};
		opp06 {
			opp-hz = /bits/ 64 <1404000000>;
			opp-microvolt = <820000>;
		};
		opp07 {
			opp-hz = /bits/ 64 <1500000000>;
			opp-microvolt = <830000>;
		};
		opp08 {
			opp-hz = /bits/ 64 <1608000000>;
			opp-microvolt = <860000>;
		};
		opp09 {
			opp-hz = /bits/ 64 <1704000000>;
			opp-microvolt = <900000>;
		};
		opp10 {
			opp-hz = /bits/ 64 <1800000000>;
			opp-microvolt = <910000>;
		};
		opp11 {
			opp-hz = /bits/ 64 <1908000000>;
			opp-microvolt = <910000>;
		};
	};

	cpu_opp_table3: cpu_opp_table3 {
		compatible = "operating-points-v2";
		opp-shared;

		opp00 {
			opp-hz = /bits/ 64 <100000000>;
			opp-microvolt = <760000>;
		};
		opp01 {
			opp-hz = /bits/ 64 <250000000>;
			opp-microvolt = <760000>;
		};
		opp02 {
			opp-hz = /bits/ 64 <500000000>;
			opp-microvolt = <760000>;
		};
		opp03 {
			opp-hz = /bits/ 64 <666666666>;
			opp-microvolt = <780000>;
		};
		opp04 {
			opp-hz = /bits/ 64 <1000000000>;
			opp-microvolt = <800000>;
		};
		opp05 {
			opp-hz = /bits/ 64 <1200000000>;
			opp-microvolt = <810000>;
		};
		opp06 {
			opp-hz = /bits/ 64 <1404000000>;
			opp-microvolt = <820000>;
		};
		opp07 {
			opp-hz = /bits/ 64 <1500000000>;
			opp-microvolt = <830000>;
		};
		opp08 {
			opp-hz = /bits/ 64 <1608000000>;
			opp-microvolt = <860000>;
		};
		opp09 {
			opp-hz = /bits/ 64 <1704000000>;
			opp-microvolt = <860000>;
		};
		opp10 {
			opp-hz = /bits/ 64 <1800000000>;
			opp-microvolt = <860000>;
		};
		opp11 {
			opp-hz = /bits/ 64 <1908000000>;
			opp-microvolt = <860000>;
		};
	};

	cpufreq-meson {
		compatible = "amlogic, cpufreq-meson";
		status = "okay";
	};

}; /* end of / */

&CPU0 {
	/*set multi table cpufreq max*/
	multi_tables_available;
	operating-points-v2 = <&cpu_opp_table0>,
			<&cpu_opp_table1>,
			<&cpu_opp_table2>,
			<&cpu_opp_table3>;
};

&CPU1 {
	/*set multi table cpufreq max*/
	multi_tables_available;
	operating-points-v2 = <&cpu_opp_table0>,
			<&cpu_opp_table1>,
			<&cpu_opp_table2>,
			<&cpu_opp_table3>;
};

&CPU2 {
	/*set multi table cpufreq max*/
	multi_tables_available;
	operating-points-v2 = <&cpu_opp_table0>,
			<&cpu_opp_table1>,
			<&cpu_opp_table2>,
			<&cpu_opp_table3>;
};

&CPU3 {
	/*set multi table cpufreq max*/
	multi_tables_available;
	operating-points-v2 = <&cpu_opp_table0>,
			<&cpu_opp_table1>,
			<&cpu_opp_table2>,
			<&cpu_opp_table3>;
};

&meson_fb {
	status = "disabled";
	display_size_default = <1920 1080 1920 2160 32>;
	mem_size = <0x00800000 0x1980000 0x100000 0x100000 0x800000>;
	logo_addr = "0x7f800000";
	mem_alloc = <0>;
	pxp_mode = <0>; /** 0:normal mode 1:pxp mode */
};

&amhdmitx {
		status = "okay";
};

&drm_vpu {
	status = "okay";
	logo_addr = "0x7f800000";
};

&drm_amcvbsout {
	status = "disabled";
};

&pwm_AO_cd {
		status = "okay";
		pinctrl-names = "default";
		pinctrl-0 = <&pwm_ao_d_pins3>;
};

&i2c0 {
	status = "okay";
	pinctrl-names="default";
	pinctrl-0=<&i2c0_master_pins2>;
	clock-frequency = <400000>;

	gt9xx@5d {
		compatible = "goodix,gt9xx";
		status = "disabled";
		reg = <0x5d>;
		reset-gpio = <&gpio GPIOZ_9 0x00>;
		irq-gpio = <&gpio GPIOZ_3 0x00>;
	};

	ftxx@38 {
		compatible = "focaltech,fts";
		status = "disabled";
		reg = <0x38>;
		reset-gpio = <&gpio GPIOZ_9 0x00>;
		irq-gpio = <&gpio GPIOZ_3 0x00>;
		x_max = <600>;
		y_max = <1024>;
		max-touch-number = <10>;
	};
};

&i2c2 {
	status = "disabled";
	pinctrl-names="default";
	pinctrl-0=<&i2c2_master_pins2>;
	clock-frequency = <100000>;
	ov5640@3c {
		compatible = "ov5640";
		reg = <0x3c>;
		//reg = <0x6c>;
		status = "okay";
	};
};

&i2c3 {
	status = "okay";
	pinctrl-names="default";
	pinctrl-0=<&i2c3_master_pins2>;
	clock-frequency = <100000>; /* default 100k */

	/* for ref board */
	ad82584f_62: ad82584f_62@31 {
		compatible = "ESMT, ad82584f";
		#sound-dai-cells = <0>;
		reg = <0x31>;
		status = "okay";
		reset_pin = <&gpio GPIOA_5 0>;
		no_mclk;
	};
};

&i2c_AO {
	status = "okay";
	pinctrl-names = "default";
	pinctrl-0 = <&ao_i2c_master_pins1>;
	clock-frequency = <100000>; /* default 100k */
//	fusb302: typec-portc@54 {
//		compatible = "fcs,fusb302";
//		reg = <0x22>;
//		gpios = <&gpio GPIOC_7 GPIO_ACTIVE_LOW>;
//		fcs,max-sink-microvolt = <12000000>;
//		fcs,max-sink-microamp = <3000000>;
//		fcs,max-sink-microwatt = <36000000>;
//	};
	rt1711h: rt1711h@4e {
		compatible = "richtek,rt1711h";
		reg = <0x4e>;
		//interrupt-parent = <&gpio_intc>;
		//interrupts = <GPIOC_7 GPIO_ACTIVE_LOW>;
		gpios = <&gpio GPIOC_7 GPIO_ACTIVE_LOW>;
		usb_con: connector {
			compatible = "usb-c-connector";
			label = "USB-C";
			power-role = "sink";
			data-role = "dual";
			sink-pdos = <PDO_FIXED(5000, 900, PDO_FIXED_USB_COMM)>;
			op-sink-microwatt = <4500000>;
			no-vconn = "true";
			no-send-disc = "true";
			send-initial-get-src-cap = "true";
			initial-get-src-cap-delay-ms = <200>;
			ports {
				#address-cells = <1>;
				#size-cells = <0>;
				port@1 {
					reg = <1>;
				};
			};
		};
	};
};

&audiobus {
	tdma: tdm@0 {
		compatible = "amlogic, sm1-snd-tdma";
		#sound-dai-cells = <0>;
		dai-tdm-lane-slot-mask-in = <0 1>;
		dai-tdm-oe-lane-slot-mask-out = <1 0>;
		dai-tdm-clk-sel = <0>;
		clocks = <&clkaudio CLKID_AUDIO_MCLK_A
				&clkc CLKID_MPLL0>;
		clock-names = "mclk", "clk_srcpll";
		pinctrl-names = "tdm_pins";
		pinctrl-0 = <&tdmout_a &tdmin_a>;

		status = "okay";
	};

	tdmb: tdm@1 {
		compatible = "amlogic, sm1-snd-tdmb";
		#sound-dai-cells = <0>;
		dai-tdm-lane-slot-mask-in = <0 1 0 0>;
		dai-tdm-lane-slot-mask-out = <1 0 0 0>;
		dai-tdm-clk-sel = <1>;
		clocks = <&clkaudio CLKID_AUDIO_MCLK_B
				&clkc CLKID_MPLL1
				&clkc CLKID_MPLL0
				&clkaudio CLKID_AUDIO_SPDIFOUT_A>;
		clock-names = "mclk", "clk_srcpll",
			"samesource_srcpll", "samesource_clk";
		pinctrl-names = "tdm_pins";
		pinctrl-0 = <&tdmout_b &tdm_b_clk_pins>;
		/*
		 * 0: tdmout_a;
		 * 1: tdmout_b;
		 * 2: tdmout_c;
		 * 3: spdifout;
		 * 4: spdifout_b;
		 */
		samesource_sel = <3>;

		status = "okay";
	};

	tdmc: tdm@2 {
		compatible = "amlogic, sm1-snd-tdmc";
		#sound-dai-cells = <0>;
		dai-tdm-lane-slot-mask-out = <1 1 1 1>;
		dai-tdm-clk-sel = <2>;

		clocks = <&clkaudio CLKID_AUDIO_MCLK_C
				&clkc CLKID_MPLL2>;
		clock-names = "mclk", "clk_srcpll";
		pinctrl-names = "tdm_pins";
		pinctrl-0 = <&tdmc_mclk &tdmout_c &tdmin_c>;

		status = "okay";
	};

	tdmlb:tdm@3 {
		compatible = "amlogic, sm1-snd-tdmlb";
		#sound-dai-cells = <0>;

		dai-tdm-lane-lb-slot-mask-in = <1 0 0 0>;
		dai-tdm-clk-sel = <1>;

		clocks = <&clkaudio CLKID_AUDIO_MCLK_B
				&clkc CLKID_MPLL1>;
		clock-names = "mclk", "clk_srcpll";

		/* indicate this tdm is only for HDMI multi-channel */
		i2s2hdmi = <1>;

		status = "okay";
	};

	spdifa: spdif@0 {
		compatible = "amlogic, sm1-snd-spdif-a";
		#sound-dai-cells = <0>;
		clocks = <&clkc CLKID_MPLL0
				&clkc CLKID_FCLK_DIV4
				&clkaudio CLKID_AUDIO_GATE_SPDIFIN
				&clkaudio CLKID_AUDIO_GATE_SPDIFOUT_A
				&clkaudio CLKID_AUDIO_SPDIFIN
				&clkaudio CLKID_AUDIO_SPDIFOUT_A>;
		clock-names = "sysclk", "fixed_clk", "gate_spdifin",
				"gate_spdifout", "clk_spdifin", "clk_spdifout";
		interrupts =
				<GIC_SPI 151 IRQ_TYPE_EDGE_RISING>;

		interrupt-names = "irq_spdifin";
		pinctrl-names = "spdif_pins";
		pinctrl-0 = <&spdifout>;

		status = "okay";
	};
	pdm: pdm {
		compatible = "amlogic, sm1-snd-pdm";
		#sound-dai-cells = <0>;

		clocks = <&clkaudio CLKID_AUDIO_GATE_PDM
			&clkc CLKID_FCLK_DIV3
			&clkc CLKID_HIFI_PLL
			&clkaudio CLKID_AUDIO_PDMIN0
			&clkaudio CLKID_AUDIO_PDMIN1>;
		clock-names = "gate",
			"sysclk_srcpll",
			"dclk_srcpll",
			"pdm_dclk",
			"pdm_sysclk";
		src-clk-freq = <491520000>;
		pinctrl-names = "pdm_pins";
		pinctrl-0 = <&pdmin>;

		/* mode 0~4, defalut:1 */
		filter_mode = <1>;

		status = "okay";
	};

	asrca: resample@0 {
		compatible = "amlogic, sm1-resample";
		clocks = <&clkc CLKID_MPLL3
				&clkaudio CLKID_AUDIO_MCLK_F
				&clkaudio CLKID_AUDIO_RESAMPLE_A>;
		clock-names = "resample_pll", "resample_src", "resample_clk";
		/*same with toddr_src
		 *	TDMIN_A, 0
		 *	TDMIN_B, 1
		 *	TDMIN_C, 2
		 *	SPDIFIN, 3
		 *	PDMIN,  4
		 *	NONE,
		 *	TDMIN_LB, 6
		 *	LOOPBACK, 7
		 */
		resample_module = <4>;
		status = "disabled";
	};
}; /* end of audiobus */

&earc {
	status = "okay";
};

&pinctrl_periphs {
	tdmout_a: tdmout_a {
		mux { /* GPIOX_11, GPIOX_10, GPIOX_9 */
			groups = "tdm_a_sclk",
				"tdm_a_fs",
				"tdm_a_dout0";
			function = "tdm_a";
			bias-pull-down;
		};
	};

	tdmin_a: tdmin_a {
		mux { /* GPIOX_8 */
			groups = "tdm_a_din1";
			function = "tdm_a";
			bias-pull-down;
		};
	};

	tdmb_mclk: tdmb_mclk {
		mux {
			groups = "mclk0_a";
			function = "mclk0";
			drive-strength = <2>;
		};
	};
	tdmout_b: tdmout_b {
		mux { /* GPIOA_1, GPIOA_2, GPIOA_3 */
			groups = "tdm_b_sclk",
				"tdm_b_fs",
				"tdm_b_dout0";
			function = "tdm_b";
			drive-strength = <2>;
		};
	};

	tdmin_b:tdmin_b {
		mux { /* GPIOA_4 */
			groups = "tdm_b_din1"
				/*,"tdmb_slv_sclk", "tdmb_slv_fs"*/;
			function = "tdm_b";
			drive-strength = <2>;
		};
	};

	tdmc_mclk: tdmc_mclk {
		mux { /* GPIOA_11 */
			groups = "mclk1_a";
			function = "mclk1";
		};
	};

	tdmout_c:tdmout_c {
		mux { /* GPIOA_12, GPIOA_13, GPIOA_8, GPIOA_7*/
			groups = "tdm_c_sclk_a",
				"tdm_c_fs_a",
				"tdm_c_dout0_a"
				/*,	"tdm_c_dout2",
				 * "tdm_c_dout3"
				 */;
			function = "tdm_c";
		};
	};

	tdmin_c:tdmin_c {
		mux { /* GPIOA_10 */
			groups = "tdm_c_din0_a";
			function = "tdm_c";
		};
	};

	spdifin: spdifin {
		mux {/* GPIOH_5 */
			groups = "spdif_in_h";
			function = "spdif_in";
		};
	};

	spdifout: spdifout {
		mux {/* GPIOH_4 */
			groups = "spdif_out_h";
			function = "spdif_out";
		};
	};

	pdmin: pdmin {
		mux { /* GPIOA_5, GPIOA_6, GPIOA_8, GPIOA_9, GPIOA_7 */
			groups = "pdm_din0_a",
				/*"pdm_din1_a",*/
				"pdm_din2_a",
				/*"pdm_din3_a",*/
				"pdm_dclk_a";
			function = "pdm";
		};
	};

	clk12_24_z_pins:clk12_24_z_pins {
		mux {
			groups = "clk12_24_z";
			function = "clk12_24_ee";
			drive-strength = <3>;
		};
	};

	gen_clk_ee_z: gen_clk_ee_z {
		mux {
			groups="gen_clk_ee_z";
			function="gen_clk_ee";
			drive-strength = <3>;
		};
	};

	cam_dvp_pins:cam_dvp_pins {
		mux {
			groups = "bt656_a_vs", "bt656_a_hs", "bt656_a_clk",
				"bt656_a_din0", "bt656_a_din1", "bt656_a_din2",
				"bt656_a_din3", "bt656_a_din4", "bt656_a_din5",
				"bt656_a_din6", "bt656_a_din7";
			function = "bt656";
		};
	};
}; /* end of pinctrl_periphs */

&pinctrl_aobus {
	spdifout_AO: spdifout_AO {
		mux { /* GPIOAO_10 */
			groups = "spdif_ao_out";
			function = "spdif_ao_out";
		};
	};
};  /* end of pinctrl_aobus */

&audio_data {
	status = "okay";
};

/* Audio Related End */

&pwm_ef {
	status = "okay";
};

&dwc2_a {
	status = "okay";
	/** 0: normal, 1: otg+dwc3 host only, 2: otg+dwc3 device only*/
	controller-type = <3>;
};

&dwc3 {
	status = "okay";
};

&usb2_phy_v2 {
	status = "okay";
	portnum = <2>;
};

&usb3_phy_v2 {
	status = "okay";
	portnum = <0>;
	otg = <1>;
	/*gpio-vbus-power = "GPIOH_6";
	gpios = <&gpio GPIOH_6 GPIO_ACTIVE_HIGH>;
	*/
};

&ethmac {
	status = "disabled";
	phy-handle = <&internal_ephy>;
	phy-mode = "rmii";
};

&uart_A {
	status = "okay";
};

/*if you want to use vdin just modify status to "okay"*/
&vdin0 {
	memory-region = <&vdin0_cma_reserved>;
	status = "okay";
	/*vdin write mem color depth support:
	 *bit0:support 8bit
	 *bit1:support 9bit
	 *bit2:support 10bit
	 *bit3:support 12bit
	 *bit4:support yuv422 10bit full pack mode (from txl new add)
	 */
	tv_bit_mode = <0x15>;
};

&vdin1 {
	memory-region = <&vdin1_cma_reserved>;
	status = "okay";
	/*vdin write mem color depth support:
	 *bit0:support 8bit
	 *bit1:support 9bit
	 *bit2:support 10bit
	 *bit3:support 12bit
	 */
	tv_bit_mode = <1>;
};

&sd_emmc_c {
	status = "okay";
	pinctrl-0 = <&emmc_pins>, <&emmc_ds_pins>;
	pinctrl-1 = <&emmc_clk_gate_pins>;
	pinctrl-names = "default", "clk-gate";
	bus-width = <8>;
	cap-mmc-highspeed;
	mmc-hs200-1_8v;
	max-frequency = <166666664>;
	non-removable;
	disable-wp;
	//mmc-ddr-1_8v;
	//mmc-hs400-1_8v;
	//mmc-pwrseq = <&emmc_pwrseq>;
	//vmmc-supply = <&vcc_3v3>;
	//vqmmc-supply = <&vddio_boot>;
};

&sd_emmc_b {
	//vmmc-supply = <&vddao3v3_reg>;
	//vqmmc-supply = <&vddio_c>;
	status = "okay";
	pinctrl-0 = <&sdcard_pins>;
	pinctrl-1 = <&sdcard_clk_gate_pins>;
	pinctrl-2 = <&sd_1bit_pins>;
	//pinctrl-3 = <&sd_to_ao_uart_clr_pins
	//	&sdcard_pins &ao_to_sd_uart_pins>;
	//pinctrl-4 = <&sd_to_ao_uart_clr_pins
	//	&sd_1bit_pins &ao_to_sd_uart_pins>;
	//pinctrl-5 = <&sdcard_pins &ao_uart_pins>;
	//pinctrl-6 = <&sd_to_ao_uart_clr_pins
	//	&ao_to_sd_uart_pins>;
	//pinctrl-7 = <&sdcard_pins &ao_uart_pins>;
	//pinctrl-8 = <&sd_to_ao_uart_clr_pins
	//	&ao_to_sd_uart_pins>;

	pinctrl-names = "sd_default",
				"clk-gate",
				"sd_1bit_pins";
	//			"sd_clk_cmd_uart_pins",
	//			"sd_1bit_uart_pins",
	//			"sd_to_ao_uart_pins",
	//			"ao_to_sd_uart_pins",
	//			"sd_to_ao_jtag_pins",
	//			"ao_to_sd_jtag_pins";
				bus-width = <4>;
				cap-sd-highspeed;
//      sd-uhs-sdr12;
//      sd-uhs-sdr25;
//      sd-uhs-sdr50;
//      sd-uhs-sdr104;
				max-frequency = <200000000>;
				disable-wp;
				dat1-gpios = <&gpio GPIOC_1 GPIO_ACTIVE_HIGH>;
				cd-gpios = <&gpio GPIOC_6 GPIO_ACTIVE_HIGH>;
				//vmmc-supply = <&vddao_3v3>;
				//vqmmc-supply = <&emmc_1v8>;
};

&sd_emmc_a {
	 status = "okay";
	 pinctrl-0 = <&sdio_m_pins>;
	 pinctrl-1 = <&sdio_m_clk_gate_pins>;
	 pinctrl-names = "default", "clk-gate";
	 bus-width = <4>;
	 cap-sd-highspeed;
	 sd-uhs-sdr104;
	 non-removable;
	 max-frequency = <200000000>;
	 disable-wp;
	 cap-sdio-irq;
	 keep-power-in-suspend;
	//broken-cd;
};

&mtd_nand {
	status = "disabled";
	#address-cells = <1>;
	#size-cells = <0>;

	pinctrl-names = "nand_norb_mod","nand_cs_only";
	pinctrl-0 = <&all_nand_pins>;
	pinctrl-1 = <&nand_cs_pins>;
	bl_mode = <1>;
	fip_copies = <4>;
	fip_size = <0x200000>;
	ship_bad_block = <1>;
	disa_irq_flag = <1>;
	nand@bootloader {
		reg = <0>;
		#address-cells = <1>;
		#size-cells = <1>;
		nand-ecc-maximize;
		partition@0 {
			label = "bootloader";
			reg = <0x0 0x00000000>;
		};
	};

	nand@normal {
		reg = <0>;
		#address-cells = <1>;
		#size-cells = <1>;
		nand-ecc-maximize;

		partition@0 {
			label = "tpl";
			reg = <0x0 0x00000000>;
		};
		partition@1 {
			label = "logo";
			reg = <0x0 0x00200000>;
		};
		partition@2 {
			label = "recovery";
			reg = <0x0 0x1000000>;
		};
		partition@3 {
			label = "boot";
			reg = <0x0 0x0F00000>;
		};
		partition@4 {
			label = "system";
			reg = <0x0 0x11800000>;
		};
		partition@5 {
			label = "data";
			reg = <0x0 0xffffffff>;
		};
	};
};

&pcie_A {
	reset-gpio = <&gpio GPIOX_7 GPIO_ACTIVE_HIGH>;
	status = "disable";
};

&saradc {
	status = "okay";
};

&spicc0 {
	status = "disabled";
	pinctrl-names = "default";
	pinctrl-0 = <&spicc0_pins_x>;
	cs-gpios = <&gpio GPIOX_10 GPIO_ACTIVE_HIGH>;
};

&spicc1 {
	status = "disabled";
	pinctrl-names = "default";
	pinctrl-0 = <&spicc1_pins>;
	cs-gpios = <&gpio GPIOH_6 GPIO_ACTIVE_HIGH>;
};

&ir {
	status = "disabled";
	pinctrl-0 = <&remote_pins>;
	pinctrl-names = "default";
};

&vddcpu0 {
	status = "okay";
};

&pinctrl_audio {
	tdm_b_clk_pins: tdm_b_clk_pins {
		mux {
			groups = "tdm_sclk1", "tdm_lrclk1";
			function = "tdm_clk_outb";
		};
	};
};

&irblaster {
	status = "disabled";
};

&pwm_AO_ab {
	status = "okay";
};
